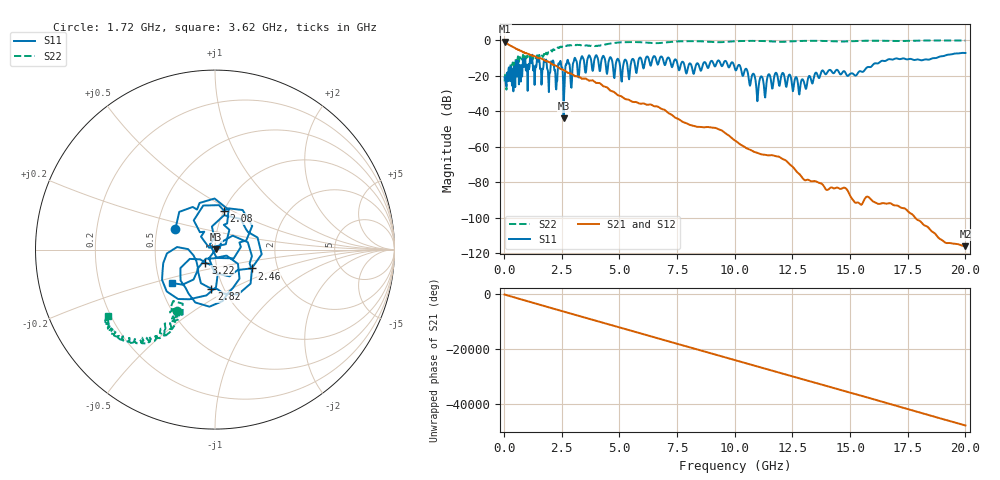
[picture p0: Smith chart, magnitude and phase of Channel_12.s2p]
! Created Sun Jun 24 21:08:22 2012
# hz S ma R 100
! 2 Port Network Data from SP1.SP block
! freq  magS11  angS11  magS21  angS21  magS12  angS12  magS22  angS22
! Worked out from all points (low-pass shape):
!   1000 points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, 20 MHz to 20 GHz, reference 100 ohm
!   highest |S21| = -0.73 dB at 20 MHz (marker M1); lowest = -116.1 dB at 20 GHz (marker M2)
!   |S21| within 3 dB of the highest: start of sweep to 366.4 MHz
!   lowest |S11| = -44.1 dB at 2.58 GHz (marker M3), VSWR 1.01, Z = 101 + j0.649 ohm
!   |S11| at or under -10 dB: start of sweep to 3.058 GHz; 4.638 GHz to 5.863 GHz (1.225 GHz wide, 23.3 % of centre); 7.145 GHz to 18.74 GHz (11.59 GHz wide, 89.6 % of centre)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
!   |S22| runs from -27.8 to -0.1 dB; largest |S21 - S12| = 0.00019
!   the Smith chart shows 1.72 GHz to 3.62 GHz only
!   S11 on the Smith chart (normalised r, x): 1.72 GHz: 0.62, +0.15; 2.08 GHz: 1.00, +0.45; 2.46 GHz: 1.47, -0.33; 2.82 GHz: 0.87, -0.40; 3.22 GHz: 0.89, -0.13; 3.62 GHz: 0.58, -0.24
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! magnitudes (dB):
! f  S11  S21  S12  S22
! 20 MHz  -20.9  -0.7  -0.7  -23.2
! 600 MHz  -11.4  -5.5  -5.5  -9.1
! 1.72 GHz  -12.1  -11.2  -11.2  -7.9
! 2.08 GHz  -13.1  -13.3  -13.3  -6.4
! 2.26 GHz  -27.7  -14.5  -14.5  -4.7
! 2.46 GHz  -12.8  -16.2  -16.2  -3.7
! 2.58 GHz  -44.1  -16.7  -16.7  -3.5
! 2.74 GHz  -11.2  -18.3  -18.3  -2.9
! 2.82 GHz  -13.2  -18.5  -18.5  -3.0
! 3.22 GHz  -20.9  -20.3  -20.3  -2.8
! 3.36 GHz  -9.3  -21.6  -21.6  -2.7
! 3.62 GHz  -10.4  -22.2  -22.2  -3.1
! 5.1 GHz  -23.4  -31.8  -31.8  -1.2
! 6.68 GHz  -13.4  -37.5  -37.5  -1.6
! 10.02 GHz  -16.5  -56.5  -56.5  -0.6
! 10.82 GHz  -19.0  -62.8  -62.8  -0.4
! 10.98 GHz  -34.4  -63.5  -63.5  -0.4
! 11.78 GHz  -18.3  -65.4  -65.4  -0.8
! 12.8 GHz  -30.6  -75.4  -75.4  -0.4
! 13.34 GHz  -23.9  -79.5  -79.6  -0.3
! 16.68 GHz  -10.7  -91.9  -91.9  -0.4
! 20 GHz  -7.2  -116.1  -116.1  -0.2
